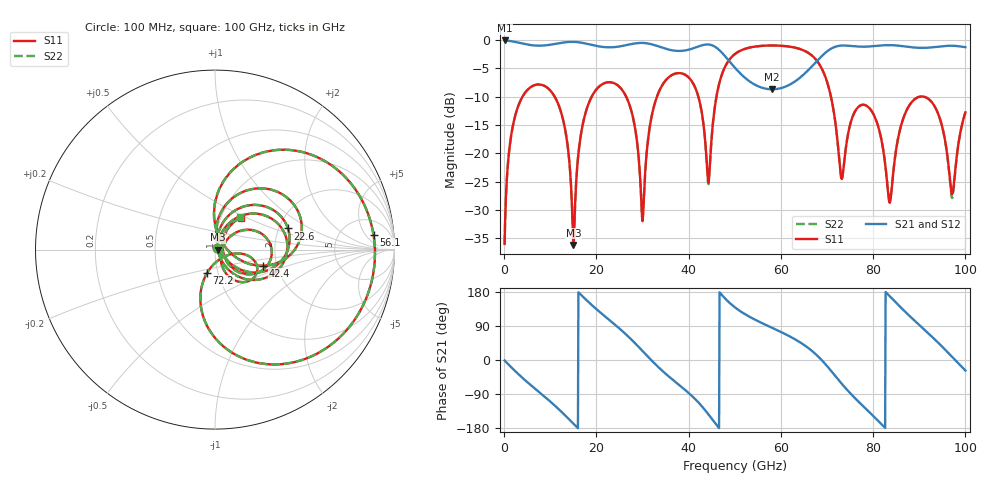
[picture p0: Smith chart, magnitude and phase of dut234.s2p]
! Touchstone file exported from HFSS 2026.1.0
!  File:  C:/ffzhzh/LocalFiles/Ansys_Project_Files/temp_train_TSV_RDL_234_1783665649_33328.aedt
!  Generated:  02:50:20 PM Jul 10, 2026
!  Design:  TSV_RDL
!  Project:  temp_train_TSV_RDL_234_1783665649_33328
! Variables:
!  h_bsmrdl = 4.74um
!  h_ox = 20um
!  h_rdl = 5um
!  h_sub = 92.61um
!  h_tmrdl = 4.92um
!  h_tsv = 92.61um
!  h_via = 3um
!  l_bsmrdl = 124.18um
!  l_sub = 3523.84um
!  l_tmrdl = 659.13um
!  m_sub = 200um
!  pitch = 46.61um
!  r_tsv = 12.79um
!  s_tmrdl = 10um
!  w_bsmrdl = 16.61um
!  w_sub = 500um
!  w_tmrdl = 21.65um
!  x_tsv_center1 = 669.955um
!  x_tsv_center2 = 810.745um
!  x_tsv_center3 = 1491.525um
!  x_tsv_center4 = 1632.315um
!  x_tsv_center5 = 2313.095um
!  x_tsv_center6 = 2453.885um
# GHz S MA R 50.000000
! Terminal data exported
! Port[1] = TM_RDL1_1_T1
! Port[2] = TM_RDL5_1_T1
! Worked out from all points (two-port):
!   1000 points, 100 MHz to 100 GHz, reference 50 ohm
!   highest |S21| = -0.10 dB at 100 MHz (marker M1); lowest = -8.7 dB at 58.1 GHz (marker M2)
!   |S21| within 3 dB of the highest: start of sweep to 48.14 GHz; 68.56 GHz to end of sweep
!   lowest |S11| = -36.2 dB at 15 GHz (marker M3), VSWR 1.03, Z = 51.6 - j0.0718 ohm
!   |S11| at or under -10 dB: 10.94 GHz to 18.99 GHz (8.048 GHz wide, 53.8 % of centre); 70.85 GHz to 90.22 GHz (19.38 GHz wide, 24.1 % of centre); 90.88 GHz to end of sweep (the widest 3 of 6)
!   |S22| runs from -36.4 to -1.0 dB; largest |S21 - S12| = 8.4e-14
!   S11 on the Smith chart (normalised r, x): 100 MHz: 1.02, +0.02; 22.6 GHz: 2.24, +0.64; 42.4 GHz: 1.69, -0.33; 56.1 GHz: 11, +8; 72.2 GHz: 0.89, -0.23; 100 GHz: 1.24, +0.47
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0.1  0.01588 41.0  0.9882 -1.3  0.9882 -1.3  0.01588 41.0
! Gamma 0 0 0 0
! Port Impedance 50 0 50 0
2.2  0.1995 57.8  0.9618 -27.0  0.9618 -27.0  0.1995 57.8
7.2  0.4037 6.7  0.8898 -80.8  0.8898 -80.8  0.4037 6.7
12.5  0.2185 -46.5  0.9427 -137.5  0.9427 -137.5  0.2186 -46.5
15  0.01552 -2.6  0.9598 -167.7  0.9598 -167.7  0.01516 -3.2
16.8  0.1597 73.3  0.9433 170.4  0.9433 170.4  0.1596 73.5
22.6  0.4232 16.2  0.8597 107.6  0.8597 107.6  0.4231 16.3
27.4  0.2504 -30.7  0.9152 56.2  0.9152 56.2  0.2503 -30.5
30  0.02519 23.2  0.9398 23.9  0.9398 23.9  0.02661 23.5
33.4  0.3372 67.0  0.8778 -18.4  0.8778 -18.4  0.3375 66.7
42.4  0.2834 -18.5  0.883 -115.7  0.883 -115.7  0.2832 -18.8
44.3  0.05521 36.7  0.9101 -143.6  0.9101 -143.6  0.05344 36.6
50.1  0.754 44.4  0.564 138.3  0.564 138.3  0.7539 44.5
56.1  0.8871 5.2  0.3763 96.2  0.3763 96.2  0.887 5.2
58.1  0.8923 -5.4  0.3664 84.9  0.3664 84.9  0.8923 -5.4
66.7  0.7291 -61.3  0.5825 24.3  0.5825 24.3  0.7289 -61.3
72.2  0.1372 -108.8  0.8794 -48.2  0.8794 -48.2  0.137 -108.6
79.1  0.2523 -45.0  0.874 -136.8  0.874 -136.8  0.2527 -44.8
83.4  0.03915 -31.9  0.8989 170.8  0.8989 170.8  0.04078 -31.4
91.3  0.3129 -11.5  0.8511 77.9  0.8511 77.9  0.3129 -12.0
97.1  0.04362 2.8  0.8875 8.5  0.8875 8.5  0.04033 2.1
100  0.2294 50.9  0.8614 -27.8  0.8614 -27.8  0.2286 51.7
